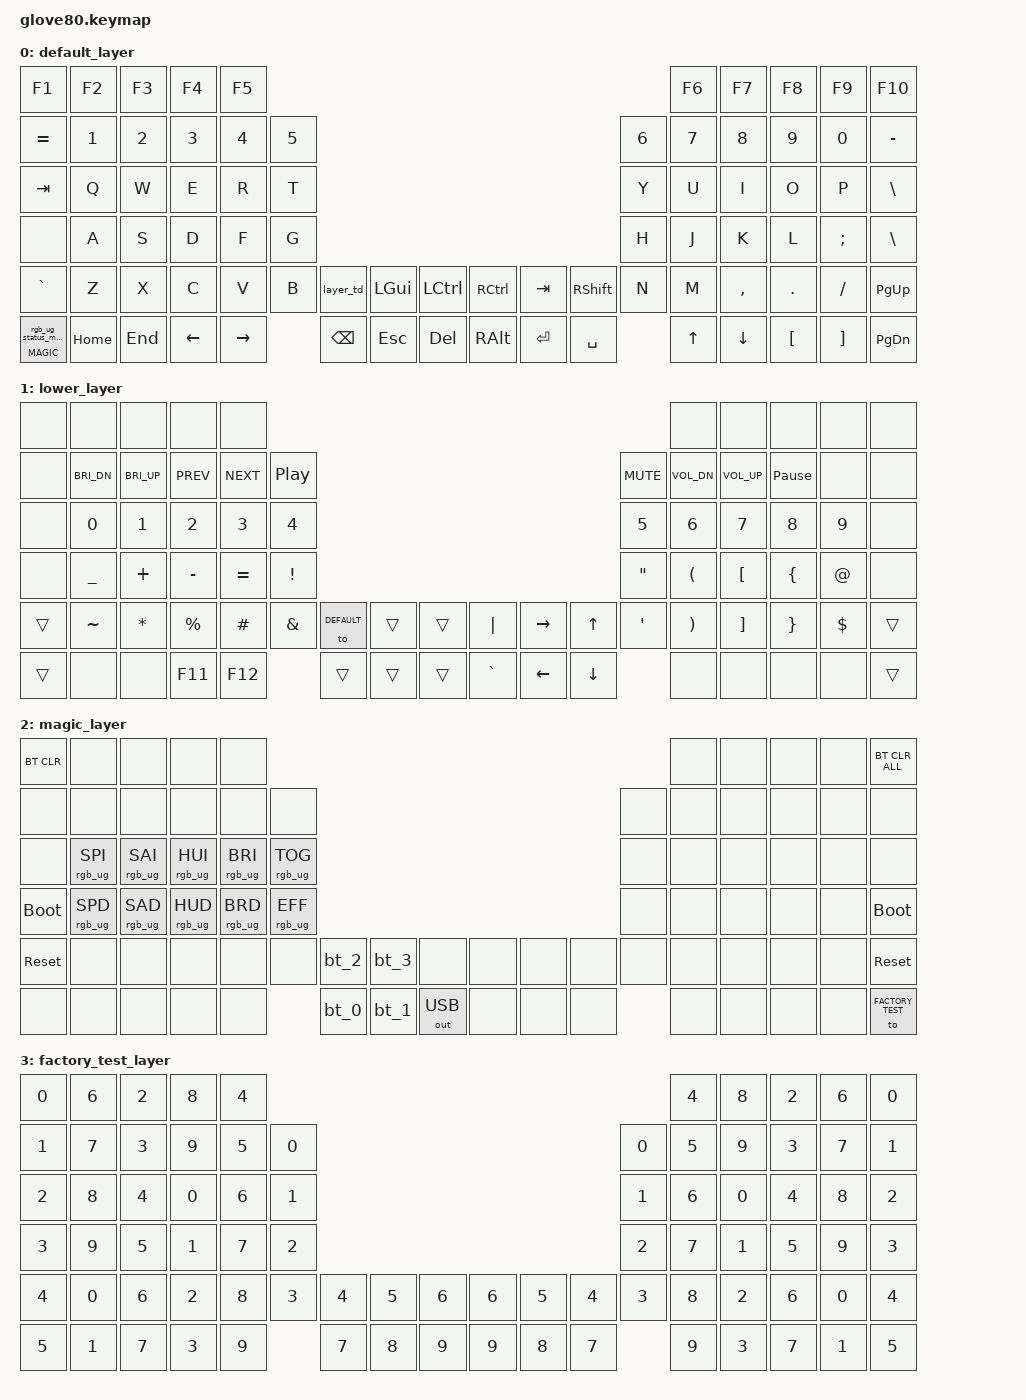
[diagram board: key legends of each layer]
/*
 * Copyright (c) 2020 The ZMK Contributors
 *
 * SPDX-License-Identifier: MIT
 */

#include <behaviors.dtsi>
#include <dt-bindings/zmk/keys.h>
#include <dt-bindings/zmk/bt.h>
#include <dt-bindings/zmk/ext_power.h>
#include <dt-bindings/zmk/outputs.h>
#include <dt-bindings/zmk/rgb.h>

#define HYPER LC(LS(LG(LALT)))

// layers
#define DEFAULT 0
#define LOWER 1
#define MAGIC 2
#define FACTORY_TEST 3

/ {
    behaviors {
        // For the "layer" key, it'd nice to be able to use it as either a shift or a toggle.
        // Configure it as a tap dance, so the first tap (or hold) is a &mo and the second tap is a &to
        layer_td: tap_dance_0 {
            compatible = "zmk,behavior-tap-dance";
            label = "LAYER_TAP_DANCE";
            #binding-cells = <0>;
            tapping-term-ms = <200>;
            bindings = <&mo LOWER>, <&to LOWER>;
        };

        magic: magic_hold_tap {
            compatible = "zmk,behavior-hold-tap";
            label = "MAGIC_HOLD_TAP";
            #binding-cells = <2>;
            flavor = "tap-preferred";
            tapping-term-ms = <200>;
            bindings = <&mo>, <&rgb_ug_status_macro>;
        };
    };

    macros {
        rgb_ug_status_macro: rgb_ug_status_macro_0 {
            label = "RGB_UG_STATUS";
            compatible = "zmk,behavior-macro";
            #binding-cells = <0>;
            bindings
                = <&rgb_ug RGB_STATUS>;
        };

        bt_0: bt_profile_macro_0 {
            label = "BT_0";
            compatible = "zmk,behavior-macro";
            #binding-cells = <0>;
            bindings
                = <&out OUT_BLE>,
                  <&bt BT_SEL 0>;
        };

        bt_1: bt_profile_macro_1 {
            label = "BT_1";
            compatible = "zmk,behavior-macro";
            #binding-cells = <0>;
            bindings
                = <&out OUT_BLE>,
                  <&bt BT_SEL 1>;
        };

        bt_2: bt_profile_macro_2 {
            label = "BT_2";
            compatible = "zmk,behavior-macro";
            #binding-cells = <0>;
            bindings
                = <&out OUT_BLE>,
                  <&bt BT_SEL 2>;
        };

        bt_3: bt_profile_macro_3 {
            label = "BT_3";
            compatible = "zmk,behavior-macro";
            #binding-cells = <0>;
            bindings
                = <&out OUT_BLE>,
                  <&bt BT_SEL 3>;
        };
    };

    keymap {
        compatible = "zmk,keymap";

        default_layer {
            // ---------------------------------------------------------------------------------------------------------------------------------
            // |  F1   |  F2 |  F3 |  F4  |  F5  |                                                               |  F6   |  F7   |  F8  |   F9  |  F10 |
            // |  =    |  1  |  2  |  3   |  4   |  5   |                                                 |  6   |   7   |   8   |  9   |   0   |   -  |
            // |  TAB  |  Q  |  W  |  E   |  R   |  T   |                                                 |  Y   |   U   |   I   |  O   |   P   |   \  |
            // |  ESC  |  A  |  S  |  D   |  F   |  G   |                                                 |  H   |   J   |   K   |  L   |   ;   |   '  |
            // |   `   |  Z  |  X  |  C   |  V   |  B   | LSHFT | LCTRL | LOWER | | LGUI  | RCTRL | RSHFT |  N   |   M   |   ,   |  .   |   /   | PGUP |
            // | MAGIC | HOME| END | LEFT | RIGHT|      | BSPC  | DEL   | LALT  | | RALT  | RET   | SPACE |      |  UP   | DOWN  |  [   |   ]   | PGDN |

            bindings = <
            &kp F1         &kp F2   &kp F3      &kp F4      &kp F5                                                                                         &kp F6  &kp F7      &kp F8      &kp F9      &kp F10
            &kp EQUAL      &kp N1   &kp N2      &kp N3      &kp N4      &kp N5                                                                        &kp N6  &kp N7  &kp N8      &kp N9      &kp N0      &kp MINUS
            &kp TAB        &kp Q    &kp W       &kp E       &kp R       &kp T                                                                         &kp Y   &kp U   &kp I       &kp O       &kp P       &kp BSLH
            &none          &kp A    &kp S       &kp D       &kp F       &kp G                                                                         &kp H   &kp J   &kp K       &kp L       &kp SEMI    &kp BSLH          
            &kp GRAVE      &kp Z    &kp X       &kp C       &kp V       &kp B   &layer_td    &kp LGUI    &kp LCTRL  &kp RCTRL &kp TAB     &kp RSHFT   &kp N   &kp M   &kp COMMA   &kp DOT     &kp FSLH    &kp PG_UP
            &magic MAGIC 0 &kp HOME &kp END     &kp LEFT    &kp RIGHT           &kp BSPC     &kp ESC     &kp DEL    &kp RALT  &kp RET     &kp SPACE           &kp UP  &kp DOWN    &kp LBKT    &kp RBKT    &kp PG_DN
            >;
        };

        lower_layer {
            bindings = <
            &none        &none               &none           &none           &none                                                                                                              &none        &none         &none           &none           &none
            &none        &kp C_BRI_DN        &kp C_BRI_UP    &kp C_PREV      &kp C_NEXT      &kp C_PP                                                                              &kp C_MUTE   &kp C_VOL_DN &kp C_VOL_UP  &kp PAUSE_BREAK &none           &none
            &none        &kp N0              &kp N1          &kp N2          &kp N3          &kp N4                                                                                &kp N5       &kp N6       &kp N7        &kp N8          &kp N9          &none
            &none        &kp UNDER           &kp PLUS        &kp MINUS       &kp EQUAL       &kp EXCL                                                                              &kp DQT      &kp LPAR     &kp LBKT      &kp LBRC        &kp AT          &none
            &trans       &kp TILDE           &kp STAR        &kp PERCENT     &kp HASH        &kp AMPS   &to DEFAULT   &trans        &trans      &kp PIPE      &kp RIGHT  &kp UP    &kp SQT      &kp RPAR     &kp RBKT      &kp RBRC        &kp DOLLAR      &trans
            &trans       &none               &none           &kp F11         &kp F12                    &trans        &trans        &trans      &kp GRAVE     &kp LEFT   &kp DOWN               &none        &none         &none           &none           &trans
            >; 
        };

        magic_layer {
            bindings = <
            &bt BT_CLR        &none               &none           &none           &none                                                                                                           &none      &none      &none      &none      &bt BT_CLR_ALL
            &none             &none               &none           &none           &none           &none                                                                                &none      &none      &none      &none      &none      &none
            &none             &rgb_ug RGB_SPI     &rgb_ug RGB_SAI &rgb_ug RGB_HUI &rgb_ug RGB_BRI &rgb_ug RGB_TOG                                                                      &none      &none      &none      &none      &none      &none
            &bootloader       &rgb_ug RGB_SPD     &rgb_ug RGB_SAD &rgb_ug RGB_HUD &rgb_ug RGB_BRD &rgb_ug RGB_EFF                                                                      &none      &none      &none      &none      &none      &bootloader
            &sys_reset        &none               &none           &none           &none           &none           &bt_2     &bt_3     &none            &none     &none     &none       &none      &none      &none      &none      &none      &sys_reset
            &none             &none               &none           &none           &none                           &bt_0     &bt_1     &out OUT_USB     &none     &none     &none                  &none      &none      &none      &none      &to FACTORY_TEST
            >;
        };

        factory_test_layer {
            bindings = <
            &kp N0   &kp N6   &kp N2   &kp N8   &kp N4                                                                              &kp N4   &kp N8   &kp N2   &kp N6   &kp N0
            &kp N1   &kp N7   &kp N3   &kp N9   &kp N5   &kp N0                                                            &kp N0   &kp N5   &kp N9   &kp N3   &kp N7   &kp N1
            &kp N2   &kp N8   &kp N4   &kp N0   &kp N6   &kp N1                                                            &kp N1   &kp N6   &kp N0   &kp N4   &kp N8   &kp N2
            &kp N3   &kp N9   &kp N5   &kp N1   &kp N7   &kp N2                                                            &kp N2   &kp N7   &kp N1   &kp N5   &kp N9   &kp N3
            &kp N4   &kp N0   &kp N6   &kp N2   &kp N8   &kp N3   &kp N4   &kp N5   &kp N6      &kp N6   &kp N5   &kp N4   &kp N3   &kp N8   &kp N2   &kp N6   &kp N0   &kp N4
            &kp N5   &kp N1   &kp N7   &kp N3   &kp N9            &kp N7   &kp N8   &kp N9      &kp N9   &kp N8   &kp N7            &kp N9   &kp N3   &kp N7   &kp N1   &kp N5
            >;
        };
    };
};
